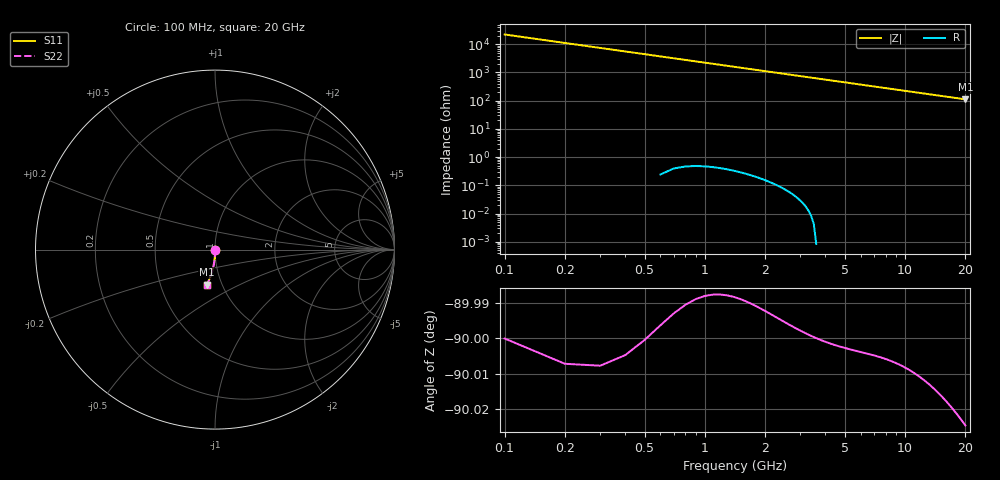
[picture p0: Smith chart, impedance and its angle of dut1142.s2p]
! Touchstone file exported from HFSS 2026.1.0
!  File:  C:/ffzhzh/LocalFiles/Ansys_Project_Files/temp_train_TSV_1142_1783191415_18472.aedt
!  Generated:  02:58:08 AM Jul  5, 2026
!  Design:  TSV
!  Project:  temp_train_TSV_1142_1783191415_18472
! Variables:
!  h_bsmrdl = 2um
!  h_ox = 20um
!  h_rdl = 5um
!  h_sub = 80.5um
!  h_tmrdl = 5um
!  h_tsv = 80.5um
!  h_via = 3um
!  l_bsmrdl = 300um
!  l_sub = 416.6um
!  l_tmrdl = 200um
!  m_sub = 200um
!  pitch = 17.64um
!  r_tsv = 8.3um
!  s_tmrdl = 10um
!  w_bsmrdl = 18um
!  w_sub = 500um
!  w_tmrdl = 12um
!  x_tsv_center1 = 206um
!  x_tsv_center2 = 524um
!  x_tsv_center3 = 736um
!  x_tsv_center4 = 1054um
!  x_tsv_center5 = 1266um
!  x_tsv_center6 = 1584um
# GHz S MA R 50.000000
! Terminal data exported
! Port[1] = TSV1_1_T1
! Port[2] = TSV1_1_T2
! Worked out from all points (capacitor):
!   200 points, 100 MHz to 20 GHz, reference 50 ohm
!   read as one part in shunt: C = 71.5 fF near 200 MHz
!   lowest |Z| = 112 ohm at 20 GHz (marker M1)
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0.1  0.0009422 -77.7  0.9998 -0.1  0.9998 -0.1  0.0009422 -77.7
! Gamma 0 0 0 0
! Port Impedance 50 0 50 0
0.2  0.001868 -82.8  0.9998 -0.2  0.9998 -0.2  0.001868 -82.8
0.3  0.00282 -84.3  0.9997 -0.2  0.9997 -0.2  0.00282 -84.3
0.4  0.003792 -85.0  0.9996 -0.3  0.9996 -0.3  0.003792 -85.0
0.5  0.004779 -85.5  0.9996 -0.4  0.9996 -0.4  0.004779 -85.5
0.7  0.006783 -86.3  0.9995 -0.5  0.9995 -0.5  0.006783 -86.3
0.8  0.007791 -86.7  0.9994 -0.6  0.9994 -0.6  0.007791 -86.7
1  0.009814 -87.3  0.9994 -0.7  0.9994 -0.7  0.009814 -87.3
1.2  0.01184 -87.8  0.9993 -0.9  0.9993 -0.9  0.01184 -87.8
1.4  0.01386 -88.2  0.9992 -1.0  0.9992 -1.0  0.01386 -88.2
1.7  0.0169 -88.7  0.9991 -1.2  0.9991 -1.2  0.0169 -88.7
2  0.01993 -89.2  0.999 -1.4  0.999 -1.4  0.01993 -89.2
2.7  0.02701 -90.0  0.9987 -1.9  0.9987 -1.9  0.02701 -90.0
3.5  0.03511 -90.8  0.9983 -2.5  0.9983 -2.5  0.03511 -90.8
4.2  0.04221 -91.4  0.9979 -3.0  0.9979 -3.0  0.04221 -91.4
5  0.05034 -92.1  0.9974 -3.5  0.9974 -3.5  0.05034 -92.1
6.8  0.06863 -93.5  0.9961 -4.8  0.9961 -4.8  0.06863 -93.5
8.3  0.08384 -94.6  0.9947 -5.8  0.9947 -5.8  0.08384 -94.6
10.1  0.102 -96.0  0.9928 -7.1  0.9928 -7.1  0.102 -96.0
13.4  0.1351 -98.4  0.9885 -9.4  0.9885 -9.4  0.1351 -98.4
16.7  0.1676 -100.7  0.9832 -11.6  0.9832 -11.6  0.1676 -100.7
20  0.1996 -103.0  0.9769 -13.8  0.9769 -13.8  0.1996 -103.0
